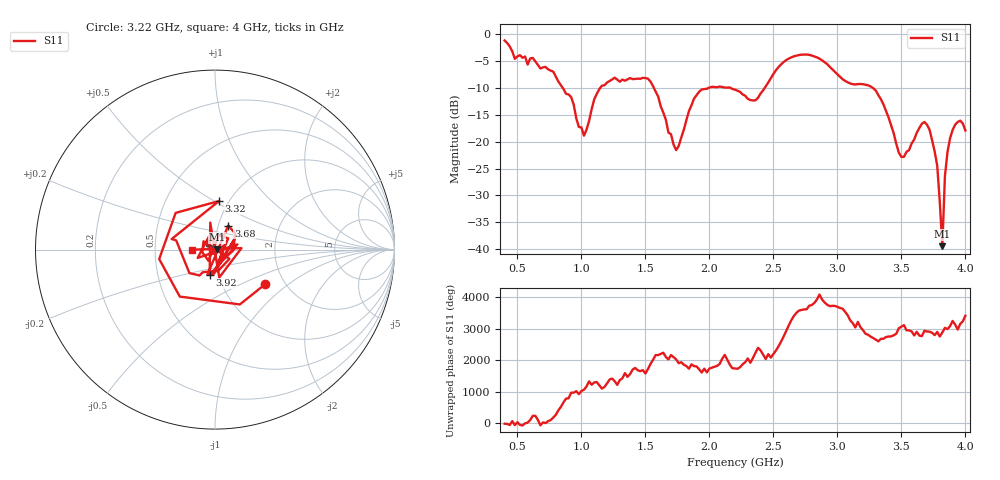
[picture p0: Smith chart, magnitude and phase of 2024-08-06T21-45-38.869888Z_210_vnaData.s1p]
!Created with skrf (http://scikit-rf.org).
# Hz S RI R 50.0
!freq ReS11 ImS11
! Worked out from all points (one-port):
!   181 points, 400 MHz to 4 GHz, reference 50 ohm
!   lowest |S11| = -39.5 dB at 3.82 GHz (marker M1), VSWR 1.02, Z = 51.1 + j0.172 ohm
!   |S11| at or under -10 dB: 855.2 MHz to 1.146 GHz (290.8 MHz wide, 29.1 % of centre); 1.567 GHz to 1.991 GHz (424.6 MHz wide, 23.9 % of centre); 3.279 GHz to end of sweep (the widest 3 of 4)
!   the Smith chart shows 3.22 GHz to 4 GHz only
!   S11 on the Smith chart (normalised r, x): 3.22 GHz: 1.58, -0.69; 3.32 GHz: 0.90, +0.53; 3.68 GHz: 1.11, +0.31; 3.92 GHz: 0.91, -0.26; 4 GHz: 0.77, -0.00
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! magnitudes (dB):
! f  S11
! 400 MHz  -1.1
! 480 MHz  -4.6
! 620 MHz  -4.4
! 860 MHz  -10.2
! 1.02 GHz  -18.9
! 1.14 GHz  -10.2
! 1.3 GHz  -8.8
! 1.52 GHz  -8.2
! 1.72 GHz  -20.5
! 1.76 GHz  -20.8
! 1.92 GHz  -10.7
! 2.2 GHz  -10.3
! 2.36 GHz  -12.3
! 2.66 GHz  -4.1
! 2.84 GHz  -4.3
! 3.1 GHz  -9.1
! 3.22 GHz  -9.4
! 3.32 GHz  -11.3
! 3.48 GHz  -22.0
! 3.56 GHz  -21.6
! 3.68 GHz  -16.3
! 3.72 GHz  -17.8
! 3.78 GHz  -24.5
! 3.82 GHz  -39.5
! 3.84 GHz  -26.4
! 3.88 GHz  -19.4
! 3.92 GHz  -16.8
! 4 GHz  -17.9
